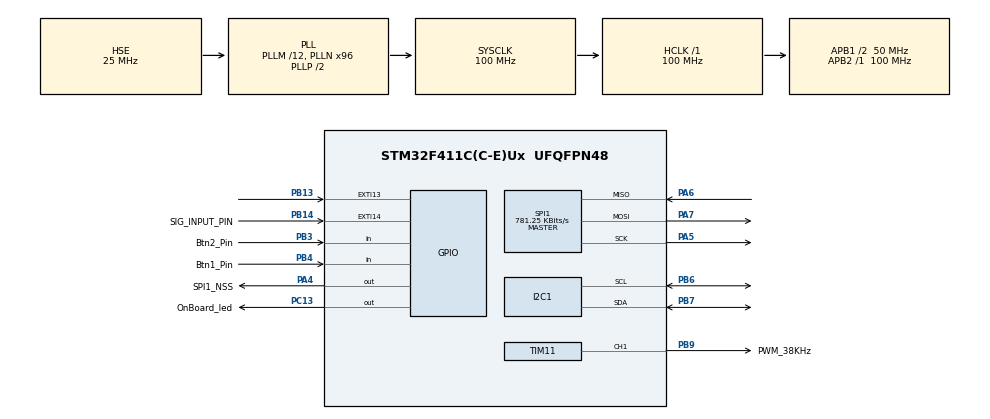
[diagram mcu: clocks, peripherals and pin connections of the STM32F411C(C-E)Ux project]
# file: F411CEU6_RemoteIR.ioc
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I2C1.I2C_Mode=I2C_Fast
Mcu.Family=STM32F4
Mcu.Name=STM32F411C(C-E)Ux
Mcu.Package=UFQFPN48
NVIC.EXTI15_10_IRQn=true\:0\:0\:false\:false\:true\:true\:true\:true
NVIC.PriorityGroup=NVIC_PRIORITYGROUP_4
NVIC.TIM1_UP_TIM10_IRQn=true\:0\:0\:false\:false\:true\:true\:true\:true
NVIC.TIM2_IRQn=true\:0\:0\:false\:false\:true\:true\:true\:true
NVIC.TIM5_IRQn=true\:0\:0\:false\:false\:true\:true\:true\:true
PA4.GPIO_Label=SPI1_NSS
PA4.Signal=GPIO_Output
PA5.Mode=Full_Duplex_Master
PA5.Signal=SPI1_SCK
PA6.Mode=Full_Duplex_Master
PA6.Signal=SPI1_MISO
PA7.Mode=Full_Duplex_Master
PA7.Signal=SPI1_MOSI
PB13.GPIO_ModeDefaultEXTI=GPIO_MODE_IT_RISING_FALLING
PB13.Signal=GPXTI13
PB14.GPIO_Label=SIG_INPUT_PIN
PB14.GPIO_ModeDefaultEXTI=GPIO_MODE_IT_RISING_FALLING
PB14.Signal=GPXTI14
PB3.GPIO_Label=Btn2_Pin
PB3.GPIO_PuPd=GPIO_PULLUP
PB3.Signal=GPIO_Input
PB4.GPIO_Label=Btn1_Pin
PB4.GPIO_PuPd=GPIO_PULLUP
PB4.Signal=GPIO_Input
PB6.Mode=I2C
PB6.Signal=I2C1_SCL
PB7.Mode=I2C
PB7.Signal=I2C1_SDA
PB9.GPIO_Label=PWM_38KHz
PB9.Signal=S_TIM11_CH1
PC13-ANTI_TAMP.GPIO_Label=OnBoard_led
PC13-ANTI_TAMP.Signal=GPIO_Output
PC14-OSC32_IN.Mode=LSE-External-Oscillator
PC14-OSC32_IN.Signal=RCC_OSC32_IN
PC15-OSC32_OUT.Mode=LSE-External-Oscillator
PC15-OSC32_OUT.Signal=RCC_OSC32_OUT
PH0\ -\ OSC_IN.Mode=HSE-External-Oscillator
PH0\ -\ OSC_IN.Signal=RCC_OSC_IN
PH1\ -\ OSC_OUT.Mode=HSE-External-Oscillator
PH1\ -\ OSC_OUT.Signal=RCC_OSC_OUT
ProjectManager.HeapSize=0x200
ProjectManager.StackSize=0x400
ProjectManager.TargetToolchain=STM32CubeIDE
RCC.48MHZClocksFreq_Value=50000000
RCC.AHBFreq_Value=100000000
RCC.APB1CLKDivider=RCC_HCLK_DIV2
RCC.APB1Freq_Value=50000000
RCC.APB1TimFreq_Value=100000000
RCC.APB2Freq_Value=100000000
RCC.APB2TimFreq_Value=100000000
RCC.CortexFreq_Value=100000000
RCC.HCLKFreq_Value=100000000
RCC.HSE_VALUE=25000000
RCC.HSI_VALUE=16000000
RCC.PLLM=12
RCC.PLLN=96
RCC.PLLSourceVirtual=RCC_PLLSOURCE_HSE
RCC.SYSCLKFreq_VALUE=100000000
RCC.SYSCLKSource=RCC_SYSCLKSOURCE_PLLCLK
RCC.VCOOutputFreq_Value=200000000
SH.S_TIM11_CH1.0=TIM11_CH1,PWM Generation1 CH1
SPI1.BaudRatePrescaler=SPI_BAUDRATEPRESCALER_128
SPI1.CalculateBaudRate=781.25 KBits/s
SPI1.Direction=SPI_DIRECTION_2LINES
SPI1.Mode=SPI_MODE_MASTER
SPI1.VirtualType=VM_MASTER
TIM10.Prescaler=762
TIM11.Channel=TIM_CHANNEL_1
TIM11.ClockDivision=TIM_CLOCKDIVISION_DIV1
TIM11.OCPolarity_1=TIM_OCPOLARITY_LOW
TIM11.Period=2632
TIM11.Prescaler=0
TIM2.Period=300000
TIM2.Prescaler=100
TIM5.Period=50000
TIM5.Prescaler=100
VP_TIM10_VS_ClockSourceINT.Mode=Enable_Timer
VP_TIM11_VS_ClockSourceINT.Mode=Enable_Timer
VP_TIM2_VS_ClockSourceINT.Mode=Internal
VP_TIM5_VS_ClockSourceINT.Mode=Internal
board=custom

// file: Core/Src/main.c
/* USER CODE BEGIN Header */
/**
  ******************************************************************************
  * @file           : main.c
  * @brief          : Main program body
  ******************************************************************************
  * @attention
  *
  * Copyright (c) 2024 STMicroelectronics.
  * All rights reserved.
  *
  * This software is licensed under terms that can be found in the LICENSE file
  * in the root directory of this software component.
  * If no LICENSE file comes with this software, it is provided AS-IS.
  *
  ******************************************************************************
  */
/* USER CODE END Header */
#include "main.h"
#include "i2c.h"
#include "spi.h"
#include "tim.h"
#include "gpio.h"

/* USER CODE BEGIN PV */
uint32_t timeoutCnt = 0;
uint16_t cycleCnt = 0;
uint32_t sigArr[200] = {0};
uint32_t sendSigArr[200] = {0};
uint8_t sector[4096] = {0};
uint32_t data[3] = {20405, 12345, 54321};
uint32_t dataRead[1024] = {0};
uint16_t sendCnt = 0;

SPIF_HandleTypeDef spif;
IR_REMOTE_HandleTypeDef hir, hir2;
IR_REMOTE_MGMT_HandleTypeDef mgmt;

/* USER CODE END PV */

void SystemClock_Config(void);

/* USER CODE BEGIN 0 */
void CheckButtons()
{
	if((GPIOB->IDR & (1<<3)) == 0)
	{
		HAL_Delay(300);
		if((GPIOB->IDR & (1<<3)) == 0)
		{
			if (IR_REMOTE_MGMT_StartListening_IT(&mgmt) == IR_REMOTE_BAD_STATUS) return;
			ssd1306_SetCursor(30, 40);
			ssd1306_WriteChar('L', Font_16x24, White);
			ssd1306_UpdateScreen();
			HAL_Delay(100);
			while(mgmt.mode)
			{
				if(timeoutCnt++ >= 20000000) break;
			}
			if(timeoutCnt > 19999999)
			{
				ssd1306_SetCursor(0, 0);
				ssd1306_WriteChar('X', Font_16x24, White);
				ssd1306_UpdateScreen();
				HAL_Delay(1000);
				ssd1306_SetCursor(0, 0);
				ssd1306_WriteChar(' ', Font_16x24, White);
				ssd1306_UpdateScreen();
				mgmt.mode = IR_REMOTE_MODE_IDLE;
				ssd1306_SetCursor(30, 40);
				ssd1306_WriteChar('I', Font_16x24, White);
				ssd1306_UpdateScreen();
				timeoutCnt = 0;
				return;
			}
			else
			{
				IR_REMOTE_PutSignal(&hir, sigArr, mgmt.currentSignalNum);
				for(int i = 0; i < 200; i++) sigArr[i] = 0;
				IR_REMOTE_PackMetadata(&hir);
				SPIF_EraseSector(&spif, 2);
				HAL_Delay(10);
				SPIF_WriteAddress(&spif, SPIF_SectorToAddress(2), (uint8_t*)hir.signalBlock, SPIF_SECTOR_SIZE);
				ssd1306_SetCursor(60,40);
				ssd1306_WriteChar('+', Font_16x24, White);
				SPIF_ReadAddress(&spif, SPIF_SectorToAddress(2), (uint8_t*)hir2.signalBlock, SPIF_SECTOR_SIZE);
				timeoutCnt = 0;
			}

			ssd1306_SetCursor(30, 40);
			ssd1306_WriteChar('I', Font_16x24, White);
			ssd1306_UpdateScreen();

		}
		else
		{
			HAL_Delay(50);
			IR_REMOTE_GetSignal(&hir, sendSigArr, mgmt.currentSignalNum);
			IR_REMOTE_MGMT_StartSending_IT(&mgmt);
		}

	}
	else if((GPIOB->IDR & (1<<4)) == 0)
	{
		HAL_Delay(300);
		if((GPIOB->IDR & (1<<4)) == 0)
				{
					HAL_Delay(50);
					if(IR_REMOTE_DeleteSignal(&hir, mgmt.currentSignalNum))
					{
					IR_REMOTE_PackMetadata(&hir);
					SPIF_EraseSector(&spif, 2);
					HAL_Delay(10);
					SPIF_WriteAddress(&spif, SPIF_SectorToAddress(2), (uint8_t*)hir.signalBlock, SPIF_SECTOR_SIZE);
					ssd1306_SetCursor(60,40);
					ssd1306_WriteChar('-', Font_16x24, White);
					SPIF_ReadAddress(&spif, SPIF_SectorToAddress(2), (uint8_t*)hir2.signalBlock, SPIF_SECTOR_SIZE);
					ssd1306_UpdateScreen();
					}

				}
				else
				{
					HAL_Delay(50);
					mgmt.currentSignalNum = (mgmt.currentSignalNum + 1) % 5;
					ssd1306_SetCursor(60,40);
				    if(hir.signalOffset[mgmt.currentSignalNum] == 0 || hir.signalOffset[mgmt.currentSignalNum] == 0xFFFFFFFF) ssd1306_WriteChar('-', Font_16x24, White);
					else ssd1306_WriteChar('+', Font_16x24, White);
					ssd1306_SetCursor(0, 40);
					ssd1306_WriteChar((char)(48+mgmt.currentSignalNum), Font_16x24, White);
					ssd1306_UpdateScreen();
				}

	}

}
/* USER CODE END 0 */

int main(void)
{

  /* MCU Configuration--------------------------------------------------------*/

  /* Reset of all peripherals, Initializes the Flash interface and the Systick. */
  HAL_Init();

  /* Configure the system clock */
  SystemClock_Config();

  /* Initialize all configured peripherals */
  MX_GPIO_Init();
  MX_I2C1_Init();
  MX_SPI1_Init();
  MX_TIM10_Init();
  MX_TIM11_Init();
  MX_TIM5_Init();
  MX_TIM2_Init();
  /* USER CODE BEGIN 2 */
  SPIF_Init(&spif, &hspi1, SPI1_NSS_GPIO_Port, SPI1_NSS_Pin);
  ssd1306_Init();

  IR_REMOTE_FlushData(&hir);
  //SPIF_EraseSector(&spif, SPIF_SectorToAddress(2));
  //SPIF_WriteAddress(&spif, SPIF_SectorToAddress(2), (uint8_t*)hir.signalBlock, SPIF_SECTOR_SIZE);
  SPIF_ReadAddress(&spif, SPIF_SectorToAddress(2), (uint8_t*)hir.signalBlock, SPIF_SECTOR_SIZE);
  IR_REMOTE_UnpackMetadata(&hir);
  HAL_TIM_Base_Start_IT(&htim10);
  HAL_TIM_Base_Start_IT(&htim11);

  mgmt.currentSignalNum = 0;
  mgmt.mode = IR_REMOTE_MODE_IDLE;

  ssd1306_SetCursor(0, 40);
  ssd1306_WriteChar((char)(48+mgmt.currentSignalNum), Font_16x24, White);
  ssd1306_SetCursor(30, 40);
  ssd1306_WriteChar('I', Font_16x24, White);
  ssd1306_SetCursor(60,40);
  if(hir.signalOffset[mgmt.currentSignalNum] == 0 || hir.signalOffset[mgmt.currentSignalNum] == 0xFFFFFFFF) ssd1306_WriteChar('-', Font_16x24, White);
  else ssd1306_WriteChar('+', Font_16x24, White);
  ssd1306_UpdateScreen();
  TIM11->CR1 &= ~(1);
  TIM11->CCR1 = 1316;
  TIM11->CCER = 0x0001;

  TIM5->CR1 &= ~(1);
  TIM5->SR = 0;
  TIM5->CNT = 0;
  TIM5->DIER = 1;
  TIM5->ARR = 120000;

  TIM2->SR = 0;
  TIM2->CR1 &= ~(1);
  TIM2->SR = 0;
  TIM2->CNT = 0;
  TIM2->DIER = 1;

  EXTI->IMR = 0;
  /* USER CODE END 2 */

  /* Infinite loop */
  while (1)
  {

    /* USER CODE BEGIN 3 */
	  CheckButtons();

  }
  /* USER CODE END 3 */
}

void SystemClock_Config(void)
{
  RCC_OscInitTypeDef RCC_OscInitStruct = {0};
  RCC_ClkInitTypeDef RCC_ClkInitStruct = {0};

  /** Configure the main internal regulator output voltage
  */
  __HAL_RCC_PWR_CLK_ENABLE();
  __HAL_PWR_VOLTAGESCALING_CONFIG(PWR_REGULATOR_VOLTAGE_SCALE1);

  /** Initializes the RCC Oscillators according to the specified parameters
  * in the RCC_OscInitTypeDef structure.
  */
  RCC_OscInitStruct.OscillatorType = RCC_OSCILLATORTYPE_HSE;
  RCC_OscInitStruct.HSEState = RCC_HSE_ON;
  RCC_OscInitStruct.PLL.PLLState = RCC_PLL_ON;
  RCC_OscInitStruct.PLL.PLLSource = RCC_PLLSOURCE_HSE;
  RCC_OscInitStruct.PLL.PLLM = 12;
  RCC_OscInitStruct.PLL.PLLN = 96;
  RCC_OscInitStruct.PLL.PLLP = RCC_PLLP_DIV2;
  RCC_OscInitStruct.PLL.PLLQ = 4;
  if (HAL_RCC_OscConfig(&RCC_OscInitStruct) != HAL_OK)
  {
    Error_Handler();
  }

  /** Initializes the CPU, AHB and APB buses clocks
  */
  RCC_ClkInitStruct.ClockType = RCC_CLOCKTYPE_HCLK|RCC_CLOCKTYPE_SYSCLK
                              |RCC_CLOCKTYPE_PCLK1|RCC_CLOCKTYPE_PCLK2;
  RCC_ClkInitStruct.SYSCLKSource = RCC_SYSCLKSOURCE_PLLCLK;
  RCC_ClkInitStruct.AHBCLKDivider = RCC_SYSCLK_DIV1;
  RCC_ClkInitStruct.APB1CLKDivider = RCC_HCLK_DIV2;
  RCC_ClkInitStruct.APB2CLKDivider = RCC_HCLK_DIV1;

  if (HAL_RCC_ClockConfig(&RCC_ClkInitStruct, FLASH_LATENCY_3) != HAL_OK)
  {
    Error_Handler();
  }
}

void Error_Handler(void)
{
  __disable_irq();
  while (1)
  {
  }
}
